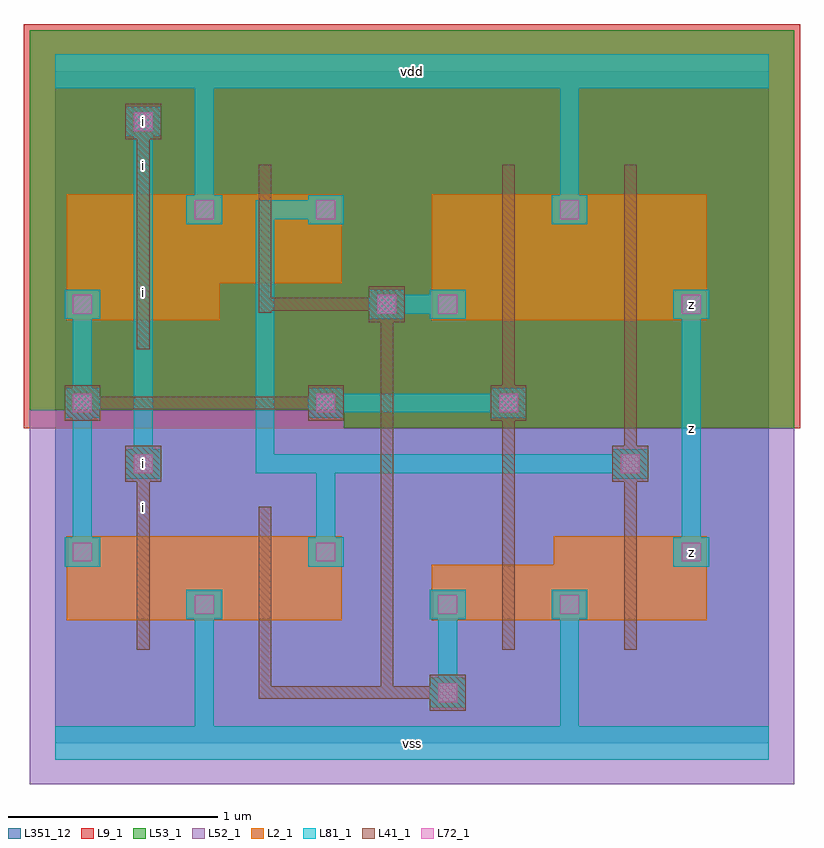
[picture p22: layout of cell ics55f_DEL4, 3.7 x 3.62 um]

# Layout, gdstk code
import gdstk
lib = gdstk.Library(unit=1e-6, precision=1e-09)
def R(c, l, rs):  # rectangles x0, y0, x1, y1
    for r in rs: c.add(gdstk.rectangle(r[:2], r[2:], *l))
def P(c, l, *ps):  # polygons
    for p in ps: c.add(gdstk.Polygon(p, *l))
L0_0 = (0, 0)
L2_1 = (2, 1)
L9_1 = (9, 1)
L41_1 = (41, 1)
L52_1 = (52, 1)
L53_1 = (53, 1)
L72_1 = (72, 1)
L81_1 = (81, 1)
L351_12 = (351, 12)

ics55f_del4 = lib.new_cell('ics55f_DEL4')
R(ics55f_del4, L2_1, [(0.055,0.585,0.785,0.985), (0.635,0.585,1.365,0.985), (0.635,0.585,0.785,0.735), (1.795,0.585,2.525,0.85), (1.795,0.585,1.945,0.735), (2.375,0.585,3.105,0.985), (2.375,0.585,2.525,0.735), (0.055,0.835,0.205,0.985), (1.215,0.835,1.365,0.985), (2.955,0.835,3.105,0.985), (0.055,2.015,0.785,2.615), (0.055,2.015,0.205,2.165), (1.795,2.015,2.525,2.615), (1.795,2.015,1.945,2.165), (2.375,2.015,3.105,2.615), (2.955,2.015,3.105,2.165), (0.635,2.19,1.365,2.615), (0.635,2.465,0.785,2.615), (1.215,2.465,1.365,2.615), (2.375,2.465,2.525,2.615)])
R(ics55f_del4, L9_1, [(-0.15,1.5,3.55,3.425)])
R(ics55f_del4, L41_1, [(1.785,0.155,1.955,0.325), (0.97,0.21,1.03,0.69), (0.97,0.21,1.9,0.27), (1.55,0.21,1.61,2.12), (0.39,0.445,0.45,1.125), (0.97,0.445,1.03,1.125), (2.13,0.445,2.19,0.99), (2.71,0.445,2.77,1.125), (2.13,0.63,2.19,2.12), (0.39,0.88,0.45,1.36), (2.71,0.88,2.77,2.12), (0.335,1.245,0.505,1.415), (2.655,1.245,2.825,1.415), (0.045,1.535,0.215,1.705), (1.205,1.535,1.375,1.705), (2.075,1.535,2.245,1.705), (0.1,1.59,1.32,1.65), (0.39,1.875,0.45,2.755), (2.13,1.875,2.19,2.755), (2.71,1.875,2.77,2.755), (1.495,2.005,1.665,2.175), (0.97,2.05,1.03,2.755), (0.97,2.06,1.03,2.57), (0.97,2.06,1.61,2.12), (0.39,2.51,0.45,2.99), (0.335,2.875,0.505,3.045)])
P(ics55f_del4, L52_1, [(-0.12,-0.195),(-0.12,1.585),(1.375,1.585),(1.375,1.5),(3.52,1.5),(3.52,-0.195)])
P(ics55f_del4, L53_1, [(1.375,1.5),(1.375,1.585),(-0.12,1.585),(-0.12,3.395),(3.52,3.395),(3.52,1.5)])
R(ics55f_del4, L72_1, [(1.825,0.195,1.915,0.285), (0.665,0.615,0.755,0.705), (1.825,0.615,1.915,0.705), (2.405,0.615,2.495,0.705), (0.085,0.865,0.175,0.955), (1.245,0.865,1.335,0.955), (2.985,0.865,3.075,0.955), (0.375,1.285,0.465,1.375), (2.695,1.285,2.785,1.375), (0.085,1.575,0.175,1.665), (1.245,1.575,1.335,1.665), (2.115,1.575,2.205,1.665), (0.085,2.045,0.175,2.135), (1.535,2.045,1.625,2.135), (1.825,2.045,1.915,2.135), (2.985,2.045,3.075,2.135), (0.665,2.495,0.755,2.585), (1.245,2.495,1.335,2.585), (2.405,2.495,2.495,2.585), (0.375,2.915,0.465,3.005)])
P(ics55f_del4, L81_1, [(1.785,0.17),(1.785,0.31),(1.825,0.31),(1.825,0.59),(1.785,0.59),(1.785,0.73),(1.955,0.73),(1.955,0.59),(1.915,0.59),(1.915,0.31),(1.955,0.31),(1.955,0.17)],
  [(0,-0.08),(0,0.08),(0.665,0.08),(0.665,0.59),(0.625,0.59),(0.625,0.73),(0.795,0.73),(0.795,0.59),(0.755,0.59),(0.755,0.08),(2.405,0.08),(2.405,0.59),(2.365,0.59),(2.365,0.73),(2.535,0.73),(2.535,0.59),(2.495,0.59),(2.495,0.08),(3.4,0.08),(3.4,-0.08)],
  [(1.205,1.55),(1.205,1.69),(1.375,1.69),(1.375,1.665),(2.075,1.665),(2.075,1.69),(2.245,1.69),(2.245,1.55),(2.075,1.55),(2.075,1.575),(1.375,1.575),(1.375,1.55)],
  [(0.045,0.84),(0.045,0.98),(0.085,0.98),(0.085,1.55),(0.045,1.55),(0.045,1.69),(0.085,1.69),(0.085,2.02),(0.045,2.02),(0.045,2.16),(0.215,2.16),(0.215,2.02),(0.175,2.02),(0.175,1.69),(0.215,1.69),(0.215,1.55),(0.175,1.55),(0.175,0.98),(0.215,0.98),(0.215,0.84)],
  [(1.495,2.02),(1.495,2.16),(1.665,2.16),(1.665,2.135),(1.785,2.135),(1.785,2.16),(1.955,2.16),(1.955,2.02),(1.785,2.02),(1.785,2.045),(1.665,2.045),(1.665,2.02)],
  [(2.945,0.84),(2.945,0.98),(2.985,0.98),(2.985,2.02),(2.945,2.02),(2.945,2.16),(3.115,2.16),(3.115,2.02),(3.075,2.02),(3.075,0.98),(3.115,0.98),(3.115,0.84)],
  [(1.205,0.84),(1.205,0.98),(1.245,0.98),(1.245,1.285),(0.955,1.285),(0.955,2.585),(1.205,2.585),(1.205,2.61),(1.375,2.61),(1.375,2.47),(1.205,2.47),(1.205,2.495),(1.045,2.495),(1.045,1.375),(2.655,1.375),(2.655,1.4),(2.825,1.4),(2.825,1.26),(2.655,1.26),(2.655,1.285),(1.335,1.285),(1.335,0.98),(1.375,0.98),(1.375,0.84)],
  [(0.335,1.26),(0.335,1.4),(0.375,1.4),(0.375,2.89),(0.335,2.89),(0.335,3.03),(0.505,3.03),(0.505,2.89),(0.465,2.89),(0.465,1.4),(0.505,1.4),(0.505,1.26)],
  [(0.625,2.47),(0.625,2.61),(0.665,2.61),(0.665,3.12),(0,3.12),(0,3.28),(3.4,3.28),(3.4,3.12),(2.495,3.12),(2.495,2.61),(2.535,2.61),(2.535,2.47),(2.365,2.47),(2.365,2.61),(2.405,2.61),(2.405,3.12),(0.755,3.12),(0.755,2.61),(0.795,2.61),(0.795,2.47)])
R(ics55f_del4, L351_12, [(0,0,3.4,3.2)])
ics55f_del4.add(gdstk.FlexPath([(0.045,0.24),(3.115,0.24)], 0, ends="flush", simple_path=True, layer=0, datatype=0))  # L0_0
ics55f_del4.add(gdstk.FlexPath([(0.045,0.66),(3.115,0.66)], 0, ends="flush", simple_path=True, layer=0, datatype=0))  # L0_0
ics55f_del4.add(gdstk.FlexPath([(0.045,0.91),(3.115,0.91)], 0, ends="flush", simple_path=True, layer=0, datatype=0))  # L0_0
ics55f_del4.add(gdstk.FlexPath([(0.045,1.33),(3.115,1.33)], 0, ends="flush", simple_path=True, layer=0, datatype=0))  # L0_0
ics55f_del4.add(gdstk.FlexPath([(0.045,1.62),(3.115,1.62)], 0, ends="flush", simple_path=True, layer=0, datatype=0))  # L0_0
ics55f_del4.add(gdstk.FlexPath([(0.045,2.09),(3.115,2.09)], 0, ends="flush", simple_path=True, layer=0, datatype=0))  # L0_0
ics55f_del4.add(gdstk.FlexPath([(0.045,2.54),(3.115,2.54)], 0, ends="flush", simple_path=True, layer=0, datatype=0))  # L0_0
ics55f_del4.add(gdstk.FlexPath([(0.045,2.96),(3.115,2.96)], 0, ends="flush", simple_path=True, layer=0, datatype=0))  # L0_0
ics55f_del4.add(gdstk.FlexPath([(0.13,0.03),(0.13,3.17)], 0, ends="flush", simple_path=True, layer=0, datatype=0))  # L0_0
ics55f_del4.add(gdstk.FlexPath([(0.42,0.03),(0.42,3.17)], 0, ends="flush", simple_path=True, layer=0, datatype=0))  # L0_0
ics55f_del4.add(gdstk.FlexPath([(0.71,0.03),(0.71,3.17)], 0, ends="flush", simple_path=True, layer=0, datatype=0))  # L0_0
ics55f_del4.add(gdstk.FlexPath([(1,0.03),(1,3.17)], 0, ends="flush", simple_path=True, layer=0, datatype=0))  # L0_0
ics55f_del4.add(gdstk.FlexPath([(1.29,0.03),(1.29,3.17)], 0, ends="flush", simple_path=True, layer=0, datatype=0))  # L0_0
ics55f_del4.add(gdstk.FlexPath([(1.58,0.03),(1.58,3.17)], 0, ends="flush", simple_path=True, layer=0, datatype=0))  # L0_0
ics55f_del4.add(gdstk.FlexPath([(1.87,0.03),(1.87,3.17)], 0, ends="flush", simple_path=True, layer=0, datatype=0))  # L0_0
ics55f_del4.add(gdstk.FlexPath([(2.16,0.03),(2.16,3.17)], 0, ends="flush", simple_path=True, layer=0, datatype=0))  # L0_0
ics55f_del4.add(gdstk.FlexPath([(2.45,0.03),(2.45,3.17)], 0, ends="flush", simple_path=True, layer=0, datatype=0))  # L0_0
ics55f_del4.add(gdstk.FlexPath([(2.74,0.03),(2.74,3.17)], 0, ends="flush", simple_path=True, layer=0, datatype=0))  # L0_0
ics55f_del4.add(gdstk.FlexPath([(3.03,0.03),(3.03,3.17)], 0, ends="flush", simple_path=True, layer=0, datatype=0))  # L0_0
ics55f_del4.add(gdstk.Label('z', (3.03,0.91), layer=2, texttype=1))
ics55f_del4.add(gdstk.Label('z', (3.03,2.09), layer=2, texttype=1))
ics55f_del4.add(gdstk.Label('i', (0.42,1.12), layer=41, texttype=1))
ics55f_del4.add(gdstk.Label('i', (0.42,1.33), layer=41, texttype=1))
ics55f_del4.add(gdstk.Label('i', (0.42,2.96), layer=41, texttype=1))
ics55f_del4.add(gdstk.Label('i', (0.42,2.75), layer=41, texttype=1))
ics55f_del4.add(gdstk.Label('z', (3.03,0.91), layer=72, texttype=1))
ics55f_del4.add(gdstk.Label('z', (3.03,2.09), layer=72, texttype=1))
ics55f_del4.add(gdstk.Label('i', (0.42,1.33), layer=72, texttype=1))
ics55f_del4.add(gdstk.Label('i', (0.42,2.96), layer=72, texttype=1))
ics55f_del4.add(gdstk.Label('z', (3.03,0.91), layer=81, texttype=6))
ics55f_del4.add(gdstk.Label('z', (3.03,2.09), layer=81, texttype=6))
ics55f_del4.add(gdstk.Label('z', (3.03,1.5), layer=81, texttype=6))
ics55f_del4.add(gdstk.Label('i', (0.42,1.33), layer=81, texttype=6))
ics55f_del4.add(gdstk.Label('i', (0.42,2.145), layer=81, texttype=6))
ics55f_del4.add(gdstk.Label('i', (0.42,2.96), layer=81, texttype=6))
ics55f_del4.add(gdstk.Label('vss', (1.7,0), layer=81, texttype=6))
ics55f_del4.add(gdstk.Label('vdd', (1.7,3.2), layer=81, texttype=6))

lib.write_gds('ics55f_DEL4.gds')
